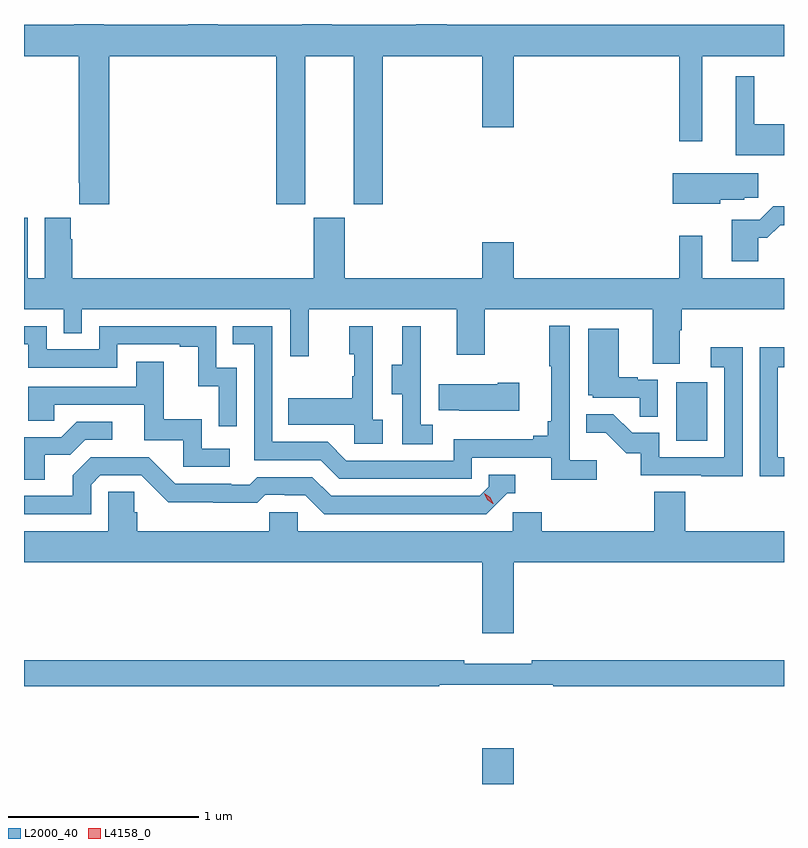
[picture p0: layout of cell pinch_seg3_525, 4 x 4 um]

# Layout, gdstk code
import gdstk
lib = gdstk.Library(unit=1e-6, precision=1e-09)
def R(c, l, rs):  # rectangles x0, y0, x1, y1
    for r in rs: c.add(gdstk.rectangle(r[:2], r[2:], *l))
def P(c, l, *ps):  # polygons
    for p in ps: c.add(gdstk.Polygon(p, *l))
L2000_40 = (2000, 40)
L4158_0 = (4158, 0)

pinch_seg3_525 = lib.new_cell('pinch_seg3_525')
R(pinch_seg3_525, L2000_40, [(1088.084,702.413,1088.248,702.601), (1089.104,704.22,1089.268,704.527)])
P(pinch_seg3_525, L2000_40, [(1086.119,706.244),(1086.998,706.244),(1086.998,705.465),(1087.15,705.465),(1087.15,706.244),(1087.406,706.244),(1087.406,705.465),(1087.559,705.465),(1087.559,706.244),(1088.084,706.244),(1088.084,705.87),(1088.248,705.87),(1088.248,706.244),(1089.12,706.244),(1089.12,705.795),(1089.241,705.795),(1089.241,706.244),(1089.671,706.244),(1089.671,706.408),(1087.895,706.408),(1087.895,706.413),(1087.735,706.413),(1087.735,706.408),(1087.29,706.408),(1087.29,706.413),(1087.135,706.413),(1087.135,706.408),(1086.69,706.408),(1086.69,706.413),(1086.535,706.413),(1086.535,706.408),(1086.09,706.408),(1086.09,706.413),(1085.935,706.413),(1085.935,706.408),(1085.671,706.408),(1085.671,706.244),(1085.959,706.244),(1085.959,705.577),(1085.963,705.577),(1085.963,705.465),(1086.119,705.465)],
  [(1089.671,705.886),(1089.514,705.886),(1089.514,706.138),(1089.416,706.138),(1089.416,705.722),(1089.671,705.722)],
  [(1089.336,705.488),(1089.462,705.488),(1089.462,705.499),(1089.535,705.499),(1089.535,705.628),(1089.086,705.628),(1089.086,705.467),(1089.336,705.467)],
  [(1089.535,705.287),(1089.584,705.287),(1089.651,705.354),(1089.671,705.354),(1089.671,705.455),(1089.614,705.455),(1089.543,705.384),(1089.395,705.384),(1089.395,705.165),(1089.535,705.165)],
  [(1089.121,704.8),(1089.134,704.8),(1089.134,704.912),(1089.671,704.912),(1089.671,705.076),(1089.241,705.076),(1089.241,705.298),(1089.12,705.298),(1089.12,705.076),(1088.248,705.076),(1088.248,705.265),(1088.084,705.265),(1088.084,705.076),(1087.36,705.076),(1087.36,705.393),(1087.196,705.393),(1087.196,705.076),(1085.924,705.076),(1085.924,705.281),(1085.917,705.281),(1085.917,705.394),(1085.78,705.394),(1085.78,705.076),(1085.692,705.076),(1085.692,705.394),(1085.671,705.394),(1085.671,704.912),(1085.88,704.912),(1085.88,704.785),(1085.976,704.785),(1085.976,704.912),(1087.071,704.912),(1087.071,704.664),(1087.169,704.664),(1087.169,704.912),(1087.949,704.912),(1087.949,704.673),(1088.097,704.673),(1088.097,704.912),(1088.981,704.912),(1088.981,704.626),(1089.121,704.626)],
  [(1088.686,704.116),(1088.544,704.116),(1088.544,704.824),(1088.436,704.824),(1088.436,704.611),(1088.447,704.611),(1088.447,704.323),(1088.428,704.323),(1088.428,704.246),(1088.351,704.246),(1088.351,704.227),(1087.932,704.227),(1087.932,704.115),(1087.368,704.115),(1087.269,704.214),(1086.978,704.214),(1086.978,704.823),(1086.769,704.823),(1086.769,704.727),(1086.882,704.727),(1086.882,704.118),(1087.232,704.118),(1087.331,704.019),(1088.028,704.019),(1088.028,704.13),(1088.447,704.13),(1088.447,704.014),(1088.686,704.014)],
  [(1086.792,704.604),(1086.684,704.604),(1086.684,704.823),(1086.066,704.823),(1086.066,704.7),(1085.79,704.7),(1085.79,704.823),(1085.671,704.823),(1085.671,704.727),(1085.694,704.727),(1085.694,704.604),(1086.162,704.604),(1086.162,704.727),(1086.491,704.727),(1086.491,704.715),(1086.587,704.715),(1086.587,704.507),(1086.696,704.507),(1086.696,704.295),(1086.792,704.295)],
  [(1087.822,704.303),(1087.758,704.303),(1087.758,704.607),(1087.76,704.607),(1087.76,704.821),(1087.661,704.821),(1087.661,704.619),(1087.607,704.619),(1087.607,704.464),(1087.662,704.464),(1087.662,704.2),(1087.822,704.2)],
  [(1087.558,704.33),(1087.506,704.33),(1087.506,704.821),(1087.382,704.821),(1087.382,704.676),(1087.408,704.676),(1087.408,704.558),(1087.398,704.558),(1087.398,704.443),(1087.063,704.443),(1087.063,704.303),(1087.41,704.303),(1087.41,704.205),(1087.558,704.205)],
  [(1089.006,704.541),(1088.9,704.541),(1088.9,704.554),(1088.8,704.554),(1088.8,704.809),(1088.642,704.809),(1088.642,704.46),(1088.664,704.46),(1088.664,704.445),(1088.911,704.445),(1088.911,704.347),(1089.006,704.347)],
  [(1089.453,704.713),(1089.285,704.713),(1089.285,704.607),(1089.357,704.607),(1089.357,704.133),(1089.015,704.133),(1089.015,704.262),(1088.871,704.262),(1088.773,704.36),(1088.629,704.36),(1088.629,704.261),(1088.733,704.261),(1088.84,704.154),(1088.917,704.154),(1088.917,704.037),(1089.235,704.037),(1089.235,704.032),(1089.453,704.032)],
  [(1089.671,704.133),(1089.639,704.133),(1089.639,704.607),(1089.671,704.607),(1089.671,704.713),(1089.543,704.713),(1089.543,704.032),(1089.671,704.032)],
  [(1086.754,704.178),(1086.606,704.178),(1086.606,704.332),(1086.407,704.332),(1086.407,704.635),(1086.263,704.635),(1086.263,704.505),(1085.694,704.505),(1085.694,704.325),(1085.831,704.325),(1085.831,704.409),(1086.305,704.409),(1086.305,704.223),(1086.51,704.223),(1086.51,704.082),(1086.754,704.082)],
  [(1088.278,704.526),(1088.165,704.526),(1088.165,704.518),(1087.855,704.518),(1087.855,704.381),(1087.963,704.381),(1087.963,704.378),(1088.278,704.378)],
  [(1085.779,704.146),(1085.914,704.146),(1085.994,704.226),(1086.136,704.226),(1086.136,704.319),(1085.948,704.319),(1085.867,704.238),(1085.671,704.238),(1085.671,704.014),(1085.779,704.014)],
  [(1086.024,703.989),(1086.072,704.037),(1086.288,704.037),(1086.43,703.895),(1086.666,703.895),(1086.666,703.893),(1086.899,703.893),(1086.941,703.935),(1087.044,703.935),(1087.044,703.932),(1087.151,703.932),(1087.25,703.833),(1088.103,703.833),(1088.214,703.944),(1088.257,703.944),(1088.257,704.04),(1088.118,704.04),(1088.118,703.977),(1088.07,703.929),(1087.287,703.929),(1087.188,704.028),(1086.899,704.028),(1086.86,703.989),(1086.761,703.989),(1086.761,703.992),(1086.468,703.992),(1086.327,704.133),(1086.021,704.133),(1085.927,704.039),(1085.927,703.929),(1085.671,703.929),(1085.671,703.833),(1086.024,703.833)],
  [(1088.248,703.58),(1089.671,703.58),(1089.671,703.744),(1089.152,703.744),(1089.152,703.952),(1088.987,703.952),(1088.987,703.744),(1088.396,703.744),(1088.396,703.842),(1088.244,703.842),(1088.244,703.744),(1087.113,703.744),(1087.113,703.842),(1086.963,703.842),(1086.963,703.744),(1086.266,703.744),(1086.266,703.842),(1086.251,703.842),(1086.251,703.952),(1086.114,703.952),(1086.114,703.744),(1085.671,703.744),(1085.671,703.58),(1088.084,703.58),(1088.084,703.206),(1088.248,703.206)],
  [(1087.856,702.936),(1088.456,702.936),(1088.456,702.928),(1089.671,702.928),(1089.671,703.064),(1088.344,703.064),(1088.344,703.045),(1087.988,703.045),(1087.988,703.064),(1085.671,703.064),(1085.671,702.928),(1087.856,702.928)])
P(pinch_seg3_525, L4158_0, [(1088.139,703.889),(1088.109,703.909),(1088.094,703.942),(1088.094,703.942),(1088.094,703.942),(1088.124,703.922),(1088.14,703.89),(1088.14,703.889)])

lib.write_gds('pinch_seg3_525.gds')
